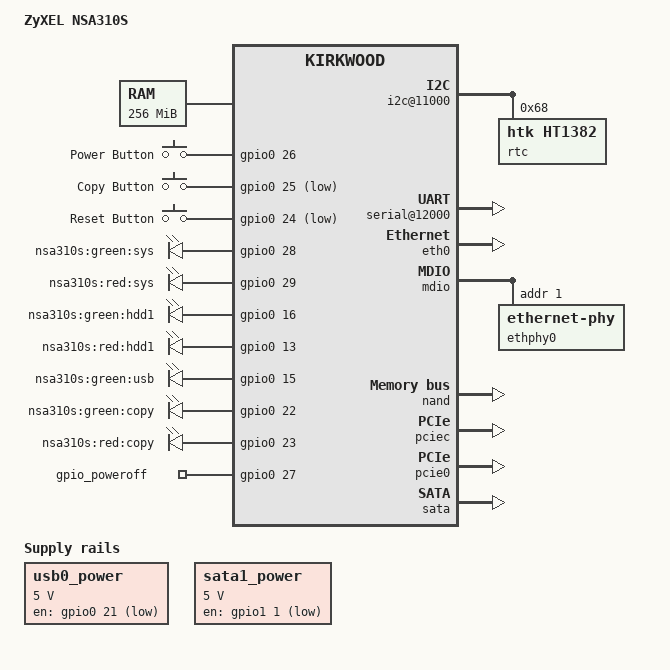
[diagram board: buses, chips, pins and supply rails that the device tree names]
// SPDX-License-Identifier: GPL-2.0-only
/dts-v1/;

#include "kirkwood.dtsi"
#include "kirkwood-6281.dtsi"

/ {
	model = "ZyXEL NSA310S";
	compatible = "zyxel,nsa310s", "marvell,kirkwood-88f6702", "marvell,kirkwood";

	aliases {
		led-boot = &led_green_sys;
		led-failsafe = &led_red_sys;
		led-running = &led_green_sys;
		led-upgrade = &led_red_sys;
	};

	memory {
		device_type = "memory";
		reg = <0x00000000 0x10000000>;
	};

	chosen {
		bootargs = "console=ttyS0,115200n8 earlyprintk";
		stdout-path = &uart0;
	};

	ocp@f1000000 {
		pinctrl: pin-controller@10000 {
			pinctrl-names = "default";

			pmx_usb_power: pmx-usb-power {
				marvell,pins = "mpp21";
				marvell,function = "gpio";
			};

			pmx_pwr_off: pmx-pwr-off {
				marvell,pins = "mpp27";
				marvell,function = "gpio";
			};

			pmx_btn_reset: pmx-btn-reset {
				marvell,pins = "mpp24";
				marvell,function = "gpio";
			};

			pmx_btn_copy: pmx-btn-copy {
				marvell,pins = "mpp25";
				marvell,function = "gpio";
			};

			pmx_btn_power: pmx-btn-power {
				marvell,pins = "mpp26";
				marvell,function = "gpio";
			};

			pmx_led_usb_green: pmx-led-usb-green {
				marvell,pins = "mpp15";
				marvell,function = "gpio";
			};

			pmx_led_copy_green: pmx-led-copy-green {
				marvell,pins = "mpp22";
				marvell,function = "gpio";
			};

			pmx_led_copy_red: pmx-led-copy-red {
				marvell,pins = "mpp23";
				marvell,function = "gpio";
			};

			pmx_led_sys_green: pmx-led-sys-green {
				marvell,pins = "mpp28";
				marvell,function = "gpio";
			};

			pmx_led_sys_red: pmx-led-sys-red {
				marvell,pins = "mpp29";
				marvell,function = "gpio";
			};

			pmx_led_hdd1_green: pmx-led-hdd1-green {
				marvell,pins = "mpp16";
				marvell,function = "gpio";
			};

			pmx_led_hdd1_red: pmx-led-hdd1-red {
				marvell,pins = "mpp13";
				marvell,function = "gpio";
			};

			pmx_pwr_sata1: pmx-pwr-sata1 {
				marvell,pins = "mpp33";
				marvell,function = "gpio";
			};

		};

		i2c@11000 {
			status = "okay";

			rtc@68 {
				compatible = "htk,ht1382";
				reg = <0x68>;
			};
		};

		serial@12000 {
			status = "okay";
		};
	};

	regulators {
		compatible = "simple-bus";
		#address-cells = <1>;
		#size-cells = <0>;
		pinctrl-0 = <&pmx_usb_power &pmx_pwr_sata1>;
		pinctrl-names = "default";

		usb0_power: regulator@1 {
			compatible = "regulator-fixed";
			reg = <1>;
			regulator-name = "USB Power";
			regulator-min-microvolt = <5000000>;
			regulator-max-microvolt = <5000000>;
			regulator-always-on;
			regulator-boot-on;
			gpio = <&gpio0 21 GPIO_ACTIVE_HIGH>;
		};

		sata1_power: regulator@2 {
			compatible = "regulator-fixed";
			reg = <2>;
			regulator-name = "SATA1 Power";
			regulator-min-microvolt = <5000000>;
			regulator-max-microvolt = <5000000>;
			regulator-always-on;
			regulator-boot-on;
			gpio = <&gpio1 1 GPIO_ACTIVE_HIGH>;
		};
	};

	keys {
		compatible = "gpio-keys";
		#address-cells = <1>;
		#size-cells = <0>;
		pinctrl-0 = <&pmx_btn_reset &pmx_btn_copy &pmx_btn_power>;
		pinctrl-names = "default";

		power {
			label = "Power Button";
			linux,code = <KEY_POWER>;
			gpios = <&gpio0 26 GPIO_ACTIVE_HIGH>;
		};

		copy {
			label = "Copy Button";
			linux,code = <KEY_COPY>;
			gpios = <&gpio0 25 GPIO_ACTIVE_LOW>;
		};

		reset {
			label = "Reset Button";
			linux,code = <KEY_RESTART>;
			gpios = <&gpio0 24 GPIO_ACTIVE_LOW>;
		};
	};

	leds {
		compatible = "gpio-leds";

		led_green_sys: green-sys {
			label = "nsa310s:green:sys";
			gpios = <&gpio0 28 GPIO_ACTIVE_HIGH>;
			linux,default-trigger = "default-on";
		};

		led_red_sys: red-sys {
			label = "nsa310s:red:sys";
			gpios = <&gpio0 29 GPIO_ACTIVE_HIGH>;
		};

		green-hdd1 {
			label = "nsa310s:green:hdd1";
			gpios = <&gpio0 16 GPIO_ACTIVE_HIGH>;
			linux,default-trigger = "ata1";
		};

		red-hdd1 {
			label = "nsa310s:red:hdd1";
			gpios = <&gpio0 13 GPIO_ACTIVE_HIGH>;
		};

		green-usb {
			label = "nsa310s:green:usb";
			gpios = <&gpio0 15 GPIO_ACTIVE_HIGH>;
			linux,default-trigger = "usb-host";
		};

		green-copy {
			label = "nsa310s:green:copy";
			gpios = <&gpio0 22 GPIO_ACTIVE_HIGH>;
		};

		red-copy {
			label = "nsa310s:red:copy";
			gpios = <&gpio0 23 GPIO_ACTIVE_HIGH>;
		};
	};

	gpio_poweroff {
		compatible = "gpio-poweroff";
		pinctrl-0 = <&pmx_pwr_off>;
		pinctrl-names = "default";
		gpios = <&gpio0 27 GPIO_ACTIVE_HIGH>;
	};
};


&eth0 {
	status = "okay";

	ethernet0-port@0 {
		phy-handle = <&ethphy0>;
	};
};

&mdio {
	status = "okay";

	ethphy0: ethernet-phy@1 {
		reg = <1>;
		phy-mode = "rgmii-id";
		marvell,reg-init = <0x1 0x16 0x0 0x3>,
				   <0x1 0x10 0x0 0x1017>,
				   <0x1 0x11 0x0 0x4408>,
				   <0x1 0x16 0x0 0x0>;
	};
};

&nand {
	status = "okay";
	chip-delay = <35>;

	partition@0 {
		label = "uboot";
		reg = <0x0000000 0x00c0000>;
		read-only;
	};
	partition@c0000 {
		label = "uboot_env";
		reg = <0x00c0000 0x0080000>;
	};
	partition@140000 {
		label = "ubi";
		reg = <0x0140000 0x7ec0000>;
	};
};

&pciec {
        status = "okay";
};

&pcie0 {
	status = "okay";
};

&sata {
	status = "okay";
	nr-ports = <1>;
};
